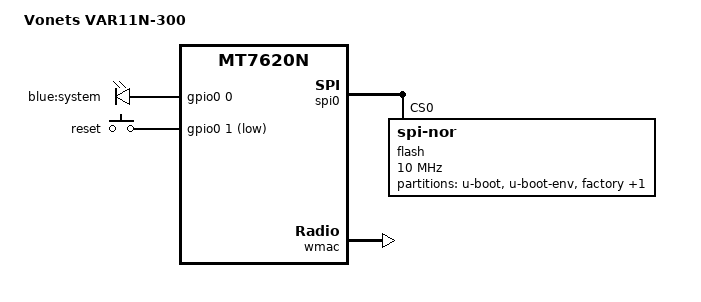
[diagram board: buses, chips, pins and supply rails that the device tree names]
#include "mt7620n.dtsi"

#include <dt-bindings/gpio/gpio.h>
#include <dt-bindings/input/input.h>

/ {
	compatible = "vonets,var11n-300", "ralink,mt7620n-soc";
	model = "Vonets VAR11N-300";

	aliases {
		led-boot = &led_system;
		led-failsafe = &led_system;
		led-running = &led_system;
		led-upgrade = &led_system;
	};

	leds {
		compatible = "gpio-leds";

		led_system: system {
			label = "blue:system";
			gpios = <&gpio0 0 GPIO_ACTIVE_HIGH>;
		};
	};

	keys {
		compatible = "gpio-keys";

		reset {
			label = "reset";
			gpios = <&gpio0 1 GPIO_ACTIVE_LOW>;
			linux,code = <KEY_RESTART>;
		};
	};
};

&spi0 {
	status = "okay";

	flash@0 {
		compatible = "jedec,spi-nor";
		reg = <0>;
		spi-max-frequency = <10000000>;

		partitions {
			compatible = "fixed-partitions";
			#address-cells = <1>;
			#size-cells = <1>;

			partition@0 {
				label = "u-boot";
				reg = <0x0 0x30000>;
				read-only;
			};

			partition@30000 {
				label = "u-boot-env";
				reg = <0x30000 0x10000>;
				read-only;
			};

			factory: partition@40000 {
				label = "factory";
				reg = <0x40000 0x10000>;
				read-only;
			};

			partition@50000 {
				compatible = "denx,uimage";
				label = "firmware";
				reg = <0x50000 0x3b0000>;
			};
		};
	};
};

&ethernet {
	nvmem-cells = <&macaddr_factory_4>;
	nvmem-cell-names = "mac-address";

	mediatek,portmap = "llllw";
};

&wmac {
	ralink,mtd-eeprom = <&factory 0x0>;
};

&state_default {
	default {
		groups = "i2c";
		function = "gpio";
	};
};

&factory {
	compatible = "nvmem-cells";
	#address-cells = <1>;
	#size-cells = <1>;

	macaddr_factory_4: macaddr@4 {
		reg = <0x4 0x6>;
	};
};
